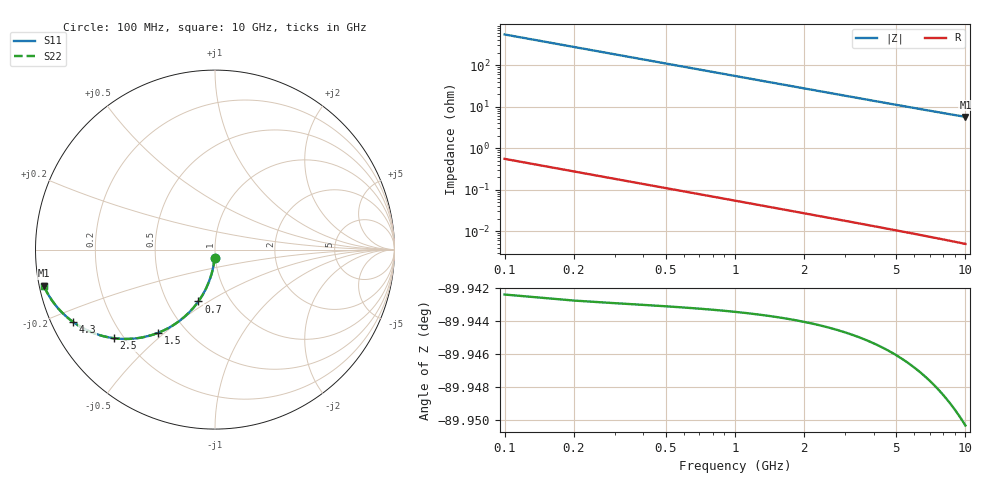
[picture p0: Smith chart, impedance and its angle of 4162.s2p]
# Hz S RI R 50.00
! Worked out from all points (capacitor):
!   100 points, 100 MHz to 10 GHz, reference 50 ohm
!   read as one part in shunt: C = 2.9 pF near 100 MHz
!   lowest |Z| = 5.67 ohm at 10 GHz (marker M1)
!   S11 on the Smith chart (normalised r, x): 100 MHz: 0.99, -0.09; 700 MHz: 0.71, -0.45; 1.5 GHz: 0.35, -0.48; 2.5 GHz: 0.16, -0.37; 4.3 GHz: 0.06, -0.24; 10 GHz: 0.01, -0.10
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1e8  -0.00209 -0.0454  0.9979 -0.0455  0.9979 -0.0455  -0.00209 -0.0454
2e8  -0.00829 -0.0902  0.9916 -0.0905  0.9916 -0.0905  -0.00829 -0.0902
3e8  -0.0184 -0.1339  0.9815 -0.1344  0.9815 -0.1344  -0.0184 -0.1339
4e8  -0.0323 -0.176  0.9677 -0.1766  0.9677 -0.1766  -0.0323 -0.176
5e8  -0.0495 -0.2161  0.9504 -0.2168  0.9504 -0.2168  -0.0495 -0.2161
6e8  -0.0697 -0.2538  0.9302 -0.2546  0.9302 -0.2546  -0.0697 -0.2538
7e8  -0.0925 -0.2888  0.9074 -0.2898  0.9074 -0.2898  -0.0925 -0.2888
9e8  -0.1441 -0.3501  0.8558 -0.3514  0.8558 -0.3514  -0.1441 -0.3501
1.1e9  -0.2009 -0.3994  0.7991 -0.401  0.7991 -0.401  -0.2009 -0.3994
1.3e9  -0.2597 -0.4371  0.7402 -0.4389  0.7402 -0.4389  -0.2597 -0.4371
1.5e9  -0.3183 -0.4642  0.6817 -0.4664  0.6817 -0.4664  -0.3183 -0.4642
1.8e9  -0.4018 -0.4885  0.5981 -0.4911  0.5981 -0.4911  -0.4018 -0.4885
2.1e9  -0.4775 -0.4975  0.5224 -0.5005  0.5224 -0.5005  -0.4775 -0.4975
2.5e9  -0.5641 -0.4936  0.4358 -0.4972  0.4358 -0.4972  -0.5641 -0.4936
2.9e9  -0.6351 -0.4788  0.3649 -0.483  0.3649 -0.483  -0.6351 -0.4788
3.4e9  -0.705 -0.453  0.2949 -0.458  0.2949 -0.458  -0.705 -0.453
3.8e9  -0.749 -0.4303  0.2509 -0.4358  0.2509 -0.4358  -0.749 -0.4303
4.3e9  -0.7925 -0.4019  0.2074 -0.4081  0.2074 -0.4081  -0.7925 -0.4019
5.1e9  -0.843 -0.3596  0.1569 -0.367  0.1569 -0.367  -0.843 -0.3596
6.7e9  -0.9025 -0.2911  0.0974 -0.3009  0.0974 -0.3009  -0.9025 -0.2911
8.4e9  -0.9357 -0.2383  0.0641 -0.2508  0.0641 -0.2508  -0.9357 -0.2383
1e10  -0.9539 -0.2016  0.046 -0.2165  0.046 -0.2165  -0.9539 -0.2016
